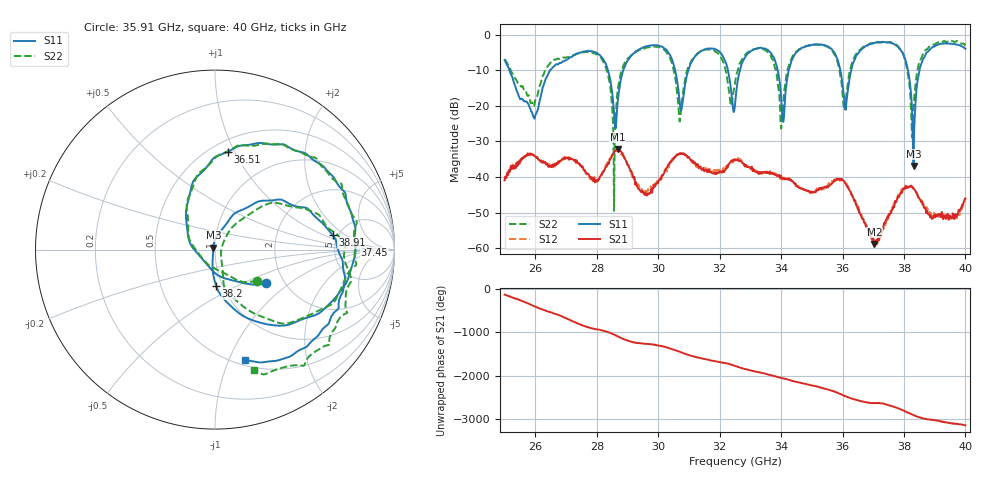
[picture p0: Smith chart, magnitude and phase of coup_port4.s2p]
!Keysight Technologies,N5225A,MY55451607,A.10.47.03
!Date: Friday, May 31, 2024 11:18:39
!Correction: S11(Full 2 Port(1,2))
!S21(Full 2 Port(1,2))
!S12(Full 2 Port(1,2))
!S22(Full 2 Port(1,2))
!S2P File: Measurements: S11, S21, S12, S22:
# Hz S  RI  R 50
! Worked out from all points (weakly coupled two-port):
!   801 points, 25 GHz to 40 GHz, reference 50 ohm
!   highest |S21| = -32.15 dB at 28.68 GHz (marker M1); lowest = -58.8 dB at 37.04 GHz (marker M2)
!   lowest |S11| = -36.9 dB at 38.31 GHz (marker M3), VSWR 1.03, Z = 49.1 + j1.13 ohm
!   |S11| at or under -10 dB: 25.16 GHz to 26.48 GHz (1.323 GHz wide, 5.12 % of centre); 28.37 GHz to 28.86 GHz (495.5 MHz wide, 1.73 % of centre); 30.55 GHz to 30.98 GHz (428.8 MHz wide, 1.39 % of centre)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
!   |S22| runs from -49.5 to -1.6 dB; largest |S21 - S12| = 0.002
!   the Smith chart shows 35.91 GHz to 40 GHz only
!   S11 on the Smith chart (normalised r, x): 35.91 GHz: 1.61, -0.68; 36.51 GHz: 0.60, +0.94; 37.45 GHz: 7.98, +1.04; 38.2 GHz: 0.93, -0.39; 38.91 GHz: 4.49, +1.29; 40 GHz: 0.56, -1.14
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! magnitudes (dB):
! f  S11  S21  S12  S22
! 25 GHz  -7.2  -40.9  -41.0  -6.9
! 25.98 GHz  -23.6  -34.0  -34.0  -19.5
! 27.51 GHz  -4.9  -37.3  -37.2  -5.0
! 28.26 GHz  -7.7  -37.8  -37.8  -8.4
! 28.56 GHz  -21.9  -33.0  -32.7  -49.5
! 28.68 GHz  -19.4  -32.2  -32.6  -15.9
! 30.01 GHz  -3.1  -41.3  -40.9  -3.4
! 30.7 GHz  -18.9  -33.3  -33.4  -24.4
! 31.73 GHz  -3.9  -38.6  -38.4  -4.1
! 32.5 GHz  -19.6  -35.2  -35.2  -13.7
! 33.38 GHz  -3.8  -38.9  -39.1  -4.0
! 34.02 GHz  -20.0  -40.1  -40.3  -25.3
! 35.01 GHz  -2.8  -44.3  -44.5  -2.9
! 35.91 GHz  -9.4  -40.7  -41.1  -10.7
! 36.51 GHz  -5.2  -48.7  -48.3  -4.6
! 37.04 GHz  -2.3  -58.8  -59.4  -2.4
! 37.45 GHz  -2.2  -51.4  -52.7  -2.1
! 37.51 GHz  -2.2  -50.4  -50.8  -2.2
! 38.2 GHz  -13.9  -42.8  -42.5  -16.0
! 38.31 GHz  -36.9  -43.2  -43.3  -21.0
! 38.91 GHz  -3.6  -51.8  -50.7  -2.8
! 40 GHz  -4.0  -46.0  -46.2  -3.0
